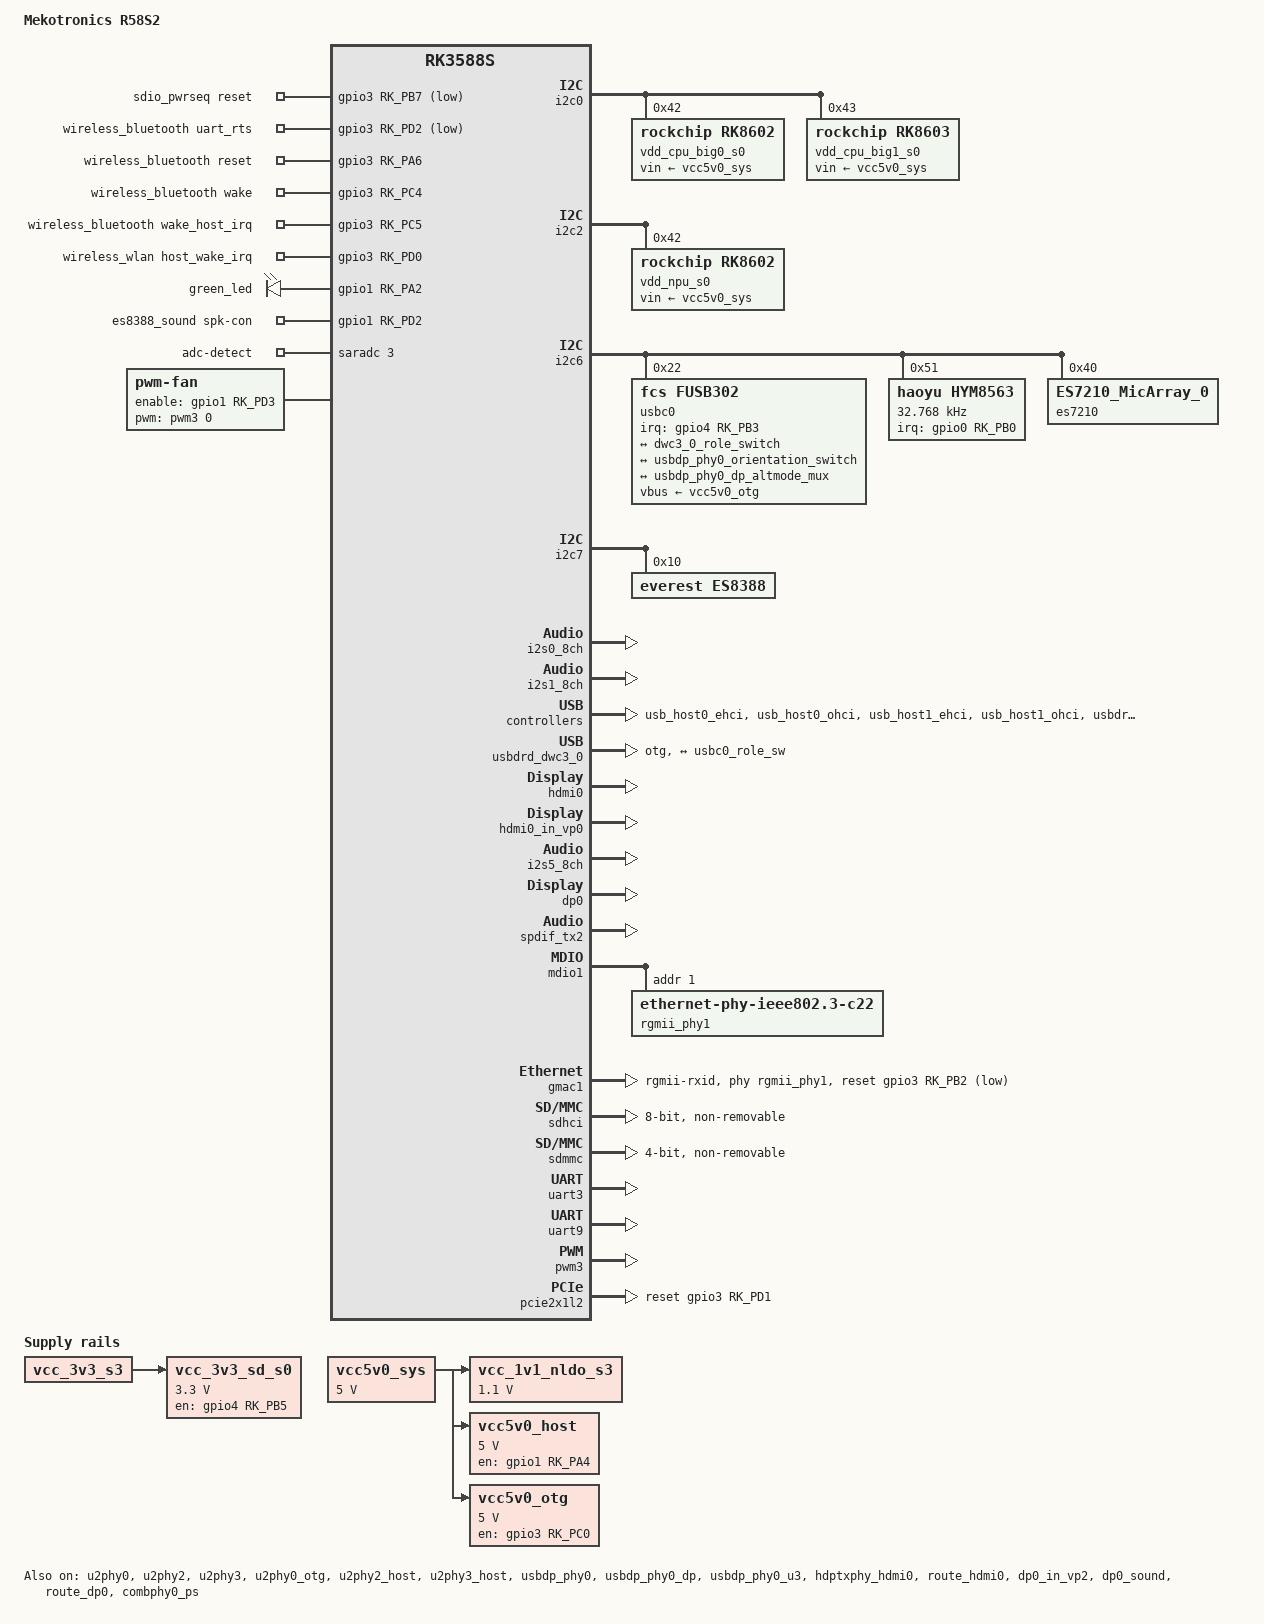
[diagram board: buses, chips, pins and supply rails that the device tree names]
// SPDX-License-Identifier: (GPL-2.0+ OR MIT)
/*
 * Mekotronics R58S2 (RK3588S) board device tree
 */

/dts-v1/;

#include <dt-bindings/usb/pd.h>
#include <dt-bindings/input/rk-input.h>
#include "rk3588s.dtsi"
#include "rk3588.dtsi"
#include "rk3588-blueberry.dtsi"
#include "rk3588-rk806-single.dtsi"
#include "rk3588-linux.dtsi"

/delete-node/ &chosen;
/delete-node/ &hdmi0_sound;

/ {
	hdmi0_sound: hdmi0-sound {
		status = "okay";
		compatible = "simple-audio-card";
		simple-audio-card,format = "i2s";
		simple-audio-card,mclk-fs = <128>;
		simple-audio-card,name = "rockchip,hdmi0";

		simple-audio-card,cpu {
			sound-dai = <&i2s5_8ch>;
		};
		simple-audio-card,codec {
			sound-dai = <&hdmi0>;
		};
	};

	model = "Mekotronics R58S2";
	compatible = "mekotronics,r58s2", "rockchip,rk3588s";

	vcc5v0_sys: vcc5v0-sys {
		compatible = "regulator-fixed";
		regulator-name = "vcc5v0_sys";
		regulator-always-on;
		regulator-boot-on;
		regulator-min-microvolt = <5000000>;
		regulator-max-microvolt = <5000000>;
	};

	vcc_1v1_nldo_s3: vcc-1v1-nldo-s3 {
		compatible = "regulator-fixed";
		regulator-name = "vcc_1v1_nldo_s3";
		regulator-always-on;
		regulator-boot-on;
		regulator-min-microvolt = <1100000>;
		regulator-max-microvolt = <1100000>;
		vin-supply = <&vcc5v0_sys>;
	};

	vcc5v0_host: vcc5v0-host {
		compatible = "regulator-fixed";
		regulator-name = "vcc5v0_host";
		regulator-boot-on;
		regulator-always-on;
		regulator-min-microvolt = <5000000>;
		regulator-max-microvolt = <5000000>;
		enable-active-high;
		gpio = <&gpio1 RK_PA4 GPIO_ACTIVE_HIGH>;
		vin-supply = <&vcc5v0_sys>;
		pinctrl-names = "default";
		pinctrl-0 = <&vcc5v0_host_en>;
	};

	vcc5v0_otg: vcc5v0-otg-regulator {
		compatible = "regulator-fixed";
		regulator-name = "vcc5v0_otg";
		regulator-min-microvolt = <5000000>;
		regulator-max-microvolt = <5000000>;
		enable-active-high;
		gpio = <&gpio3 RK_PC0 GPIO_ACTIVE_HIGH>;
		vin-supply = <&vcc5v0_sys>;
		pinctrl-names = "default";
		pinctrl-0 = <&vcc5v0_otg_en>;
	};

	vcc_3v3_sd_s0: vcc-3v3-sd-s0-regulator {
		compatible = "regulator-fixed";
		gpio = <&gpio4 RK_PB5 GPIO_ACTIVE_LOW>;
		pinctrl-names = "default";
		pinctrl-0 = <&sd_s0_pwr>;
		regulator-name = "vcc_3v3_sd_s0";
		enable-active-high;
		regulator-min-microvolt = <3300000>;
		regulator-max-microvolt = <3300000>;
		vin-supply = <&vcc_3v3_s3>;
	};

	sdio_pwrseq: sdio-pwrseq {
		compatible = "mmc-pwrseq-simple";
		clocks = <&hym8563>;
		clock-names = "ext_clock";
		pinctrl-names = "default";
		pinctrl-0 = <&wifi_enable_h>;
		reset-gpios = <&gpio3 RK_PB7 GPIO_ACTIVE_LOW>;
	};

	wireless_bluetooth: wireless-bluetooth {
		compatible = "bluetooth-platdata";
		clocks = <&hym8563>;
		clock-names = "ext_clock";
		uart_rts_gpios = <&gpio3 RK_PD2 GPIO_ACTIVE_LOW>;
		pinctrl-names = "default", "rts_gpio";
		pinctrl-0 = <&uart9m2_rtsn>;
		pinctrl-1 = <&uart9_gpios>;
		BT,reset_gpio    = <&gpio3 RK_PA6 GPIO_ACTIVE_HIGH>;
		BT,wake_gpio     = <&gpio3 RK_PC4 GPIO_ACTIVE_HIGH>;
		BT,wake_host_irq = <&gpio3 RK_PC5 GPIO_ACTIVE_HIGH>;
		status = "okay";
	};

	wireless_wlan: wireless-wlan {
		compatible = "wlan-platdata";
		wifi_chip_type = "ap6256";
		pinctrl-names = "default";
		pinctrl-0 = <&wifi_host_wake_irq>;
		WIFI,host_wake_irq = <&gpio3 RK_PD0 GPIO_ACTIVE_HIGH>;
		status = "okay";
	};

	leds: leds {
		compatible = "gpio-leds";
		green_led: green-led {
			gpios = <&gpio1 RK_PA2 GPIO_ACTIVE_HIGH>;
			linux,default-trigger = "heartbeat";
			default-state = "on";
		};
	};

	es8388_sound: es8388-sound {
		status = "okay";
		compatible = "rockchip,multicodecs-card";
		rockchip,card-name = "rockchip,es8388-codec";
		spk-con-gpio = <&gpio1 RK_PD2 GPIO_ACTIVE_HIGH>;
		io-channels = <&saradc 3>;
		io-channel-names = "adc-detect";
		keyup-threshold-microvolt = <1800000>;
		poll-interval = <100>;
		rockchip,format = "i2s";
		rockchip,mclk-fs = <256>;
		rockchip,cpu = <&i2s0_8ch>;
		rockchip,codec = <&es8388>;
		rockchip,audio-routing =
			"Headphone", "LOUT1",
			"Headphone", "ROUT1",
			"Speaker", "LOUT2",
			"Speaker", "ROUT2",
			"Headphone", "Headphone Power",
			"Headphone", "Headphone Power",
			"Speaker", "Speaker Power",
			"Speaker", "Speaker Power",
			"LINPUT1", "Main Mic",
			"LINPUT2", "Main Mic",
			"RINPUT1", "Headset Mic",
			"RINPUT2", "Headset Mic";
		play-pause-key {
			label = "playpause";
			linux,code = <KEY_PLAYPAUSE>;
			press-threshold-microvolt = <2000>;
		};
	};

	es7210_sound: es7210-sound {
		status = "okay";
		compatible = "simple-audio-card";
		simple-audio-card,format = "i2s";
		simple-audio-card,mclk-fs = <256>;
		simple-audio-card,name = "rockchip,es7210";
		simple-audio-card,cpu {
			sound-dai = <&i2s1_8ch>;
		};
		simple-audio-card,codec {
			sound-dai = <&es7210>;
		};
	};

	fan: pwm-fan {
		compatible = "pwm-fan";
		#cooling-cells = <2>;
		pwms = <&pwm3 0 50000 0>;
		cooling-levels = <1 50 100 150 200 255>;
		rockchip,temp-trips = <
			50000 1
			55000 2
			60000 3
			65000 4
			70000 5
		>;
		enable-gpios = <&gpio1 RK_PD3 GPIO_ACTIVE_HIGH>;
		pinctrl-names = "default";
		pinctrl-0 = <&fan0_enable_gpio>;
		status = "okay";
	};
};

/* ----- I2C buses ----- */

&i2c0 {
	status = "okay";
	pinctrl-names = "default";
	pinctrl-0 = <&i2c0m2_xfer>;

	vdd_cpu_big0_s0: vdd_cpu_big0_mem_s0: rk8602@42 {
		compatible = "rockchip,rk8602";
		reg = <0x42>;
		vin-supply = <&vcc5v0_sys>;
		regulator-compatible = "rk860x-reg";
		regulator-name = "vdd_cpu_big0_s0";
		regulator-min-microvolt = <550000>;
		regulator-max-microvolt = <1050000>;
		regulator-ramp-delay = <2300>;
		rockchip,suspend-voltage-selector = <1>;
		regulator-boot-on;
		regulator-always-on;
		regulator-state-mem {
			regulator-off-in-suspend;
		};
	};

	vdd_cpu_big1_s0: vdd_cpu_big1_mem_s0: rk8603@43 {
		compatible = "rockchip,rk8603";
		reg = <0x43>;
		vin-supply = <&vcc5v0_sys>;
		regulator-compatible = "rk860x-reg";
		regulator-name = "vdd_cpu_big1_s0";
		regulator-min-microvolt = <550000>;
		regulator-max-microvolt = <1050000>;
		regulator-ramp-delay = <2300>;
		rockchip,suspend-voltage-selector = <1>;
		regulator-boot-on;
		regulator-always-on;
		regulator-state-mem {
			regulator-off-in-suspend;
		};
	};
};

&i2c2 {
	status = "okay";
	pinctrl-names = "default";
	pinctrl-0 = <&i2c2m0_xfer>;

	vdd_npu_s0: vdd_npu_mem_s0: rk8602@42 {
		compatible = "rockchip,rk8602";
		reg = <0x42>;
		vin-supply = <&vcc5v0_sys>;
		regulator-compatible = "rk860x-reg";
		regulator-name = "vdd_npu_s0";
		regulator-min-microvolt = <550000>;
		regulator-max-microvolt = <950000>;
		regulator-ramp-delay = <2300>;
		rockchip,suspend-voltage-selector = <1>;
		regulator-boot-on;
		regulator-always-on;
		regulator-state-mem {
			regulator-off-in-suspend;
		};
	};
};

&i2c6 {
	status = "okay";
	pinctrl-names = "default";
	pinctrl-0 = <&i2c6m0_xfer>;

	usbc0: fusb302@22 {
		compatible = "fcs,fusb302";
		reg = <0x22>;
		interrupt-parent = <&gpio4>;
		interrupts = <RK_PB3 IRQ_TYPE_LEVEL_LOW>;
		pinctrl-names = "default";
		pinctrl-0 = <&usbc0_int>;
		vbus-supply = <&vcc5v0_otg>;
		status = "okay";

		ports {
			#address-cells = <1>;
			#size-cells = <0>;

			port@0 {
				reg = <0>;
				usbc0_role_sw: endpoint@0 {
					remote-endpoint = <&dwc3_0_role_switch>;
				};
			};
		};

		usb_con: connector {
			compatible = "usb-c-connector";
			label = "USB-C";
			data-role = "dual";
			power-role = "dual";
			try-power-role = "sink";
			op-sink-microwatt = <1000000>;
			sink-pdos =
				<PDO_FIXED(5000, 1000, PDO_FIXED_USB_COMM)>;
			source-pdos =
				<PDO_FIXED(5000, 3000, PDO_FIXED_USB_COMM)>;

			altmodes {
				#address-cells = <1>;
				#size-cells = <0>;
				altmode@0 {
					reg = <0>;
					svid = <0xff01>;
					vdo = <0xffffffff>;
				};
			};

			ports {
				#address-cells = <1>;
				#size-cells = <0>;

				port@0 {
					reg = <0>;
					usbc0_orien_sw: endpoint {
						remote-endpoint = <&usbdp_phy0_orientation_switch>;
					};
				};

				port@1 {
					reg = <1>;
					dp_altmode_mux: endpoint {
						remote-endpoint = <&usbdp_phy0_dp_altmode_mux>;
					};
				};
			};
		};
	};

	hym8563: hym8563@51 {
		compatible = "haoyu,hym8563";
		reg = <0x51>;
		#clock-cells = <0>;
		clock-frequency = <32768>;
		clock-output-names = "hym8563";
		pinctrl-names = "default";
		pinctrl-0 = <&rtc_int>;
		interrupt-parent = <&gpio0>;
		interrupts = <RK_PB0 IRQ_TYPE_LEVEL_LOW>;
		wakeup-source;
	};

	es7210: es7210@40 {
		status = "okay";
		#sound-dai-cells = <0>;
		compatible = "ES7210_MicArray_0";
		reg = <0x40>;
		clocks = <&mclkout_i2s1>;
		clock-names = "mclk";
		pinctrl-names = "default";
		pinctrl-0 = <&i2s1m0_mclk>;
	};
};

&i2c7 {
	status = "okay";
	pinctrl-names = "default";
	pinctrl-0 = <&i2c7m0_xfer>;

	es8388: es8388@10 {
		status = "okay";
		#sound-dai-cells = <0>;
		compatible = "everest,es8388", "everest,es8323";
		reg = <0x10>;
		clocks = <&mclkout_i2s0>;
		clock-names = "mclk";
		assigned-clocks = <&mclkout_i2s0>;
		assigned-clock-rates = <12288000>;
		pinctrl-names = "default";
		pinctrl-0 = <&i2s0_mclk>;
	};
};

/* ----- Audio ----- */

&i2s0_8ch {
	pinctrl-names = "default";
	status = "okay";
	pinctrl-0 = <&i2s0_lrck
		     &i2s0_sclk
		     &i2s0_sdi0
		     &i2s0_sdo0>;
};

&i2s1_8ch {
	status = "okay";
	#sound-dai-cells = <0>;
	pinctrl-names = "default";
	pinctrl-0 = <&i2s1m0_lrck
		     &i2s1m0_sclk
		     &i2s1m0_sdi0
		     &i2s1m0_sdi1
		     &i2s1m0_sdi2
		     &i2s1m0_sdi3>;
};

/* ----- USB ----- */

&u2phy0 {
	status = "okay";
};

&u2phy2 {
	status = "okay";
};

&u2phy3 {
	status = "okay";
};

&u2phy0_otg {
	status = "okay";
};

&u2phy2_host {
	phy-supply = <&vcc5v0_host>;
	status = "okay";
};

&u2phy3_host {
	phy-supply = <&vcc5v0_host>;
	status = "okay";
};

&usb_host0_ehci {
	status = "okay";
};

&usb_host0_ohci {
	status = "okay";
};

&usb_host1_ehci {
	status = "okay";
};

&usb_host1_ohci {
	status = "okay";
};

&usbdp_phy0 {
	orientation-switch;
	svid = <0xff01>;
	sbu1-dc-gpios = <&gpio4 RK_PB1 GPIO_ACTIVE_HIGH>;
	sbu2-dc-gpios = <&gpio4 RK_PB4 GPIO_ACTIVE_HIGH>;
	status = "okay";

	port {
		#address-cells = <1>;
		#size-cells = <0>;
		usbdp_phy0_orientation_switch: endpoint@0 {
			reg = <0>;
			remote-endpoint = <&usbc0_orien_sw>;
		};

		usbdp_phy0_dp_altmode_mux: endpoint@1 {
			reg = <1>;
			remote-endpoint = <&dp_altmode_mux>;
		};
	};
};

&usbdp_phy0_dp {
	status = "okay";
};

&usbdp_phy0_u3 {
	status = "okay";
};

&usbdrd3_0 {
	status = "okay";
};

&usbdrd_dwc3_0 {
	dr_mode = "otg";
	usb-role-switch;
	status = "okay";
	port {
		#address-cells = <1>;
		#size-cells = <0>;
		dwc3_0_role_switch: endpoint@0 {
			reg = <0>;
			remote-endpoint = <&usbc0_role_sw>;
		};
	};
};

/* ----- Display ----- */

/*
 * RK3588S only has HDMI0 (no HDMI1). Override the blueberry.dtsi which
 * incorrectly includes hdptxphy_hdmi1 in the display_subsystem clocks.
 */
&display_subsystem {
	clocks = <&hdptxphy_hdmi0>;
	clock-names = "hdmi0_phy_pll";
};

&hdmi0 {
	enable-gpios = <&gpio4 RK_PB6 GPIO_ACTIVE_HIGH>;
	status = "okay";
};

&hdmi0_in_vp0 {
	status = "okay";
};

&hdptxphy_hdmi0 {
	status = "okay";
};

/* RK3588S has no HDMI1 — override the enable from rk3588-blueberry.dtsi */
&hdptxphy_hdmi1 {
	status = "disabled";
};

&i2s5_8ch {
	status = "okay";
};

&route_hdmi0 {
	status = "okay";
	connect = <&vp0_out_hdmi0>;
};

&dp0 {
	status = "okay";
};

&dp0_in_vp2 {
	status = "okay";
};

&dp0_sound {
	status = "okay";
};

&route_dp0 {
	status = "okay";
	connect = <&vp2_out_dp0>;
};

&spdif_tx2 {
	status = "okay";
};

/*
 * rk3588-blueberry.dtsi sets ESMART as primary plane for all VPs. Override
 * to match all other RK3588S boards: CLUSTER as primary, ESMART as cursor.
 */
&vp0 {
	rockchip,primary-plane = <ROCKCHIP_VOP2_CLUSTER0>;
	cursor-win-id = <ROCKCHIP_VOP2_ESMART0>;
};

&vp1 {
	rockchip,primary-plane = <ROCKCHIP_VOP2_CLUSTER1>;
	cursor-win-id = <ROCKCHIP_VOP2_ESMART1>;
};

&vp2 {
	rockchip,primary-plane = <ROCKCHIP_VOP2_CLUSTER2>;
	cursor-win-id = <ROCKCHIP_VOP2_ESMART2>;
};

&vp3 {
	rockchip,primary-plane = <ROCKCHIP_VOP2_CLUSTER3>;
	cursor-win-id = <ROCKCHIP_VOP2_ESMART3>;
};

/* ----- Ethernet ----- */

&mdio1 {
	rgmii_phy1: phy@1 {
		compatible = "ethernet-phy-ieee802.3-c22";
		reg = <0x1>;
	};
};

&gmac1 {
	phy-mode = "rgmii-rxid";
	clock_in_out = "output";

	snps,reset-gpio = <&gpio3 RK_PB2 GPIO_ACTIVE_LOW>;
	snps,reset-active-low;
	snps,reset-delays-us = <0 20000 100000>;

	pinctrl-names = "default";
	pinctrl-0 = <&gmac1_miim
		     &gmac1_tx_bus2
		     &gmac1_rx_bus2
		     &gmac1_rgmii_clk
		     &gmac1_rgmii_bus>;

	tx_delay = <0x42>;

	phy-handle = <&rgmii_phy1>;
	status = "okay";
};

/* ----- Storage ----- */

&sdhci {
	bus-width = <8>;
	no-sdio;
	no-sd;
	non-removable;
	max-frequency = <200000000>;
	mmc-hs400-1_8v;
	mmc-hs400-enhanced-strobe;
	status = "okay";
};

&sdmmc {
	max-frequency = <150000000>;
	supports-sdio;
	no-sd;
	no-mmc;
	bus-width = <4>;
	disable-wp;
	cap-sd-highspeed;
	cap-sdio-irq;
	keep-power-in-suspend;
	mmc-pwrseq = <&sdio_pwrseq>;
	non-removable;
	pinctrl-names = "default";
	pinctrl-0 = <&sdmmc_clk &sdmmc_cmd &sdmmc_bus4>;
	sd-uhs-sdr104;
	status = "okay";
};

/* ----- UARTs ----- */

&uart3 {
	pinctrl-names = "default";
	pinctrl-0 = <&uart3m0_xfer>;
	status = "okay";
};

&uart9 {
	pinctrl-names = "default";
	pinctrl-0 = <&uart9m2_xfer &uart9m2_ctsn>;
	status = "okay";
};

/* ----- PWM ----- */

&pwm3 {
	pinctrl-0 = <&pwm3m0_pins>;
	status = "okay";
};

/* ----- PCIe ----- */

&pcie2x1l2 {
	reset-gpios = <&gpio3 RK_PD1 GPIO_ACTIVE_HIGH>;
	rockchip,skip-scan-in-resume;
	status = "okay";
};

&combphy0_ps {
	status = "okay";
};

/* ----- Suspend ----- */

&rockchip_suspend {
	status = "okay";
	rockchip,sleep-debug-en = <1>;
};

/* ----- Pinctrl ----- */

&pinctrl {
	hym8563 {
		rtc_int: rtc-int {
			rockchip,pins = <0 RK_PB0 RK_FUNC_GPIO &pcfg_pull_up>;
		};
	};

	sdio-pwrseq {
		wifi_enable_h: wifi-enable-h {
			rockchip,pins = <3 RK_PB7 RK_FUNC_GPIO &pcfg_pull_up>;
		};
	};

	usb {
		vcc5v0_host_en: vcc5v0-host-en {
			rockchip,pins = <1 RK_PA4 RK_FUNC_GPIO &pcfg_pull_none>;
		};
	};

	wireless-wlan {
		wifi_host_wake_irq: wifi-host-wake-irq {
			rockchip,pins = <3 RK_PD0 RK_FUNC_GPIO &pcfg_pull_none>;
		};
	};

	wireless-bluetooth {
		uart9_gpios: uart9-gpios {
			rockchip,pins = <3 RK_PD2 RK_FUNC_GPIO &pcfg_pull_none>;
		};
		bt_gpio: bt-gpio {
			rockchip,pins =
				<3 RK_PA6 RK_FUNC_GPIO &pcfg_pull_none>,
				<3 RK_PC5 RK_FUNC_GPIO &pcfg_pull_up>,
				<3 RK_PC4 RK_FUNC_GPIO &pcfg_pull_down>;
		};
	};

	headphone {
		hp_det: hp-det {
			rockchip,pins = <1 RK_PD5 RK_FUNC_GPIO &pcfg_pull_none>;
		};
	};

	sdmmc {
		sd_s0_pwr: sd-s0-pwr {
			rockchip,pins = <4 RK_PB5 RK_FUNC_GPIO &pcfg_pull_none>;
		};
	};

	usb-typec {
		usbc0_int: usbc0-int {
			rockchip,pins = <4 RK_PB3 RK_FUNC_GPIO &pcfg_pull_up>;
		};

		vcc5v0_otg_en: vcc5v0-otg-en {
			rockchip,pins = <3 RK_PC0 RK_FUNC_GPIO &pcfg_pull_none>;
		};
	};

	fan {
		fan0_enable_gpio: fan0-enable-gpio {
			rockchip,pins = <1 RK_PD3 RK_FUNC_GPIO &pcfg_pull_up>;
		};
	};
};
